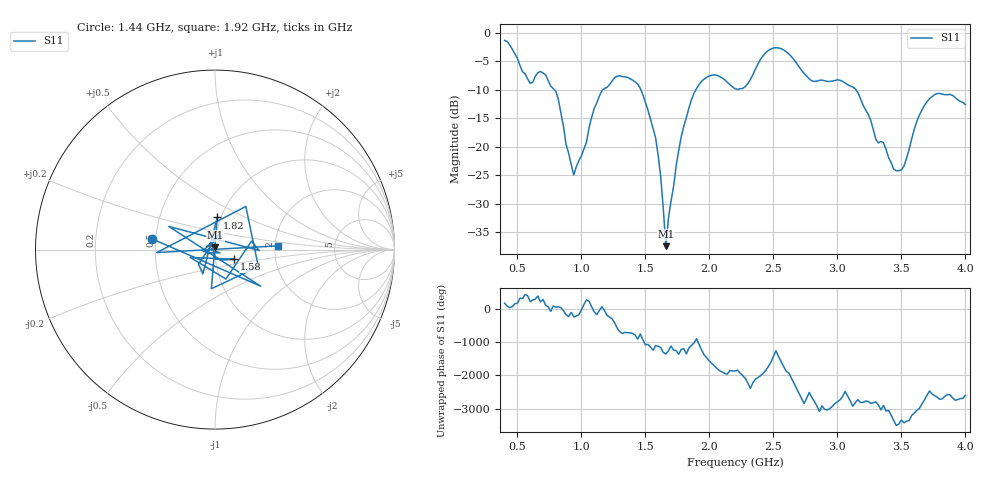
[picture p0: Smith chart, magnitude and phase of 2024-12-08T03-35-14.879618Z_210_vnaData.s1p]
!Created with skrf (http://scikit-rf.org).
# Hz S RI R 50.0
!freq ReS11 ImS11
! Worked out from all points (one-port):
!   181 points, 400 MHz to 4 GHz, reference 50 ohm
!   lowest |S11| = -37.5 dB at 1.66 GHz (marker M1), VSWR 1.03, Z = 50.1 + j1.33 ohm
!   |S11| at or under -10 dB: 789.2 MHz to 1.168 GHz (378.3 MHz wide, 38.7 % of centre); 1.465 GHz to 1.894 GHz (429.2 MHz wide, 25.6 % of centre); 3.146 GHz to end of sweep
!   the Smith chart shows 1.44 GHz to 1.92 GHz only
!   S11 on the Smith chart (normalised r, x): 1.44 GHz: 0.48, +0.07; 1.58 GHz: 1.23, -0.13; 1.82 GHz: 0.96, +0.36; 1.92 GHz: 2.08, +0.10
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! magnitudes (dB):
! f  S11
! 400 MHz  -1.3
! 600 MHz  -8.8
! 720 MHz  -7.3
! 800 MHz  -10.3
! 860 MHz  -16.5
! 940 MHz  -25.0
! 1.14 GHz  -11.1
! 1.3 GHz  -7.5
! 1.44 GHz  -9.0
! 1.58 GHz  -18.5
! 1.62 GHz  -25.4
! 1.66 GHz  -37.5
! 1.76 GHz  -20.7
! 1.82 GHz  -14.9
! 1.92 GHz  -9.0
! 2.04 GHz  -7.4
! 2.2 GHz  -9.8
! 2.28 GHz  -9.4
! 2.48 GHz  -2.8
! 2.66 GHz  -4.7
! 2.8 GHz  -8.4
! 3.1 GHz  -9.3
! 3.44 GHz  -24.0
! 3.5 GHz  -24.1
! 3.56 GHz  -20.5
! 3.62 GHz  -15.6
! 3.72 GHz  -11.5
! 4 GHz  -12.6
